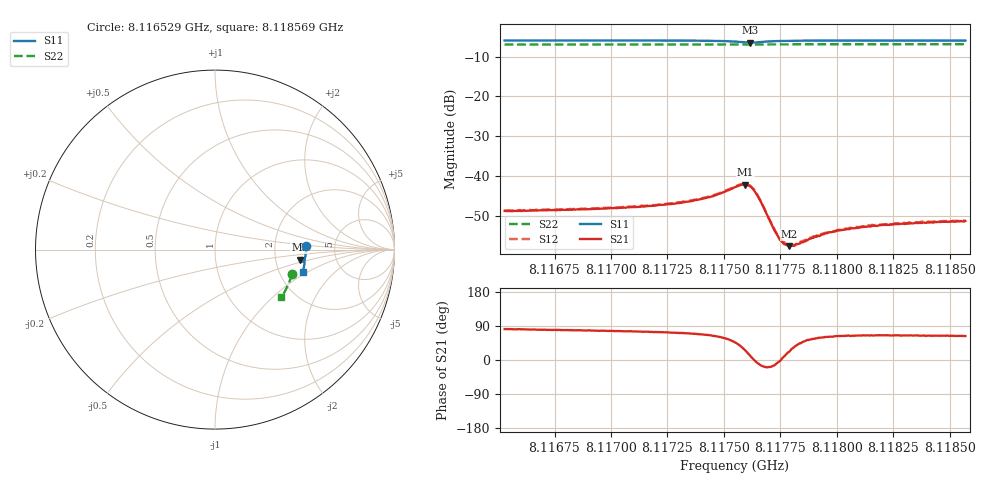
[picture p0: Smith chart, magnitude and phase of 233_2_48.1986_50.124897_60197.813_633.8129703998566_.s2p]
#  HZ  S  RI  R  50.00
! Rohde & Schwarz Vector Network Analyzer
! Rohde-Schwarz,ZNB20-2Port,1311601062101988,3.16
! Created: UTC 3/20/2024, 11:46:32 AM
! freq[Hz]  re:S11  im:S11  re:S21  im:S21  re:S12  im:S12  re:S22  im:S22
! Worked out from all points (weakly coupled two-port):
!   401 points, 8.116529 GHz to 8.118569 GHz, reference 50 ohm
!   highest |S21| = -42.15 dB at 8.117595 GHz (marker M1); lowest = -57.7 dB at 8.117789 GHz (marker M2)
!   lowest |S11| = -6.5 dB at 8.117615 GHz (marker M3), VSWR 2.82, Z = 137 - j20.2 ohm
!   |S11| at or under -10 dB: nowhere
!   |S22| runs from -6.9 to -6.8 dB; largest |S21 - S12| = 0.00022
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8.1165288e9  0.5065 0.0189  0.00053 0.0036  0.000569 0.0036  0.428 -0.1377
8.1168706e9  0.5062 -0.00737  0.00078 0.00373  0.000831 0.0038  0.4212 -0.1605
8.1172123e9  0.5041 -0.0348  0.00122 0.00414  0.00127 0.00419  0.4128 -0.1829
8.1173092e9  0.5027 -0.0432  0.00146 0.00435  0.00153 0.00439  0.4103 -0.1892
8.1174061e9  0.5002 -0.0525  0.002 0.00477  0.0021 0.00486  0.4076 -0.1955
8.1174724e9  0.4965 -0.0598  0.00276 0.00518  0.00285 0.00523  0.4056 -0.1997
8.1175489e9  0.486 -0.0672  0.00497 0.00524  0.00514 0.00527  0.403 -0.2045
8.1175948e9  0.4746 -0.0633  0.00707 0.00331  0.00723 0.00328  0.4011 -0.2071
8.1176152e9  0.4724 -0.0568  0.00726 0.00152  0.00743 0.0015  0.4006 -0.2079
8.1176356e9  0.4748 -0.0499  0.00643 -0.000124  0.00659 -0.000201  0.4002 -0.209
8.117656e9  0.4804 -0.0465  0.00507 -0.00102  0.00516 -0.00111  0.4 -0.21
8.1177223e9  0.494 -0.0517  0.00204 -0.000528  0.00211 -0.000549  0.3986 -0.2145
8.1177376e9  0.4955 -0.0537  0.00176 -0.000223  0.0018 -0.000212  0.3981 -0.2153
8.117758e9  0.4967 -0.0568  0.00147 0.000123  0.0015 0.000111  0.3975 -0.2167
8.1177887e9  0.498 -0.0606  0.00122 0.000482  0.00124 0.000518  0.3967 -0.2188
8.1178193e9  0.4986 -0.0642  0.00108 0.000846  0.00112 0.000838  0.3959 -0.2208
8.1178907e9  0.4987 -0.0718  0.000951 0.00138  0.000984 0.00137  0.3936 -0.2254
8.118008e9  0.4979 -0.0823  0.000912 0.00184  0.000986 0.00186  0.3897 -0.2326
8.1181508e9  0.496 -0.0942  0.000969 0.00209  0.00101 0.00212  0.3848 -0.2414
8.1182324e9  0.4948 -0.1006  0.00103 0.00218  0.00107 0.00225  0.3818 -0.2463
8.1183803e9  0.4924 -0.1118  0.00111 0.00233  0.00118 0.00241  0.3765 -0.2554
8.118569e9  0.4889 -0.1259  0.00122 0.00243  0.00122 0.00245  0.3694 -0.2665
